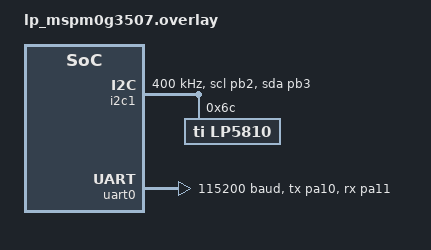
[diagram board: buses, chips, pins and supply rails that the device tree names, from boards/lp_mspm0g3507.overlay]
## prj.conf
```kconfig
CONFIG_I2C=y
CONFIG_I2C_SCL_LOW_TIMEOUT=10
CONFIG_MAIN_STACK_SIZE=2048
CONFIG_LED=y
```

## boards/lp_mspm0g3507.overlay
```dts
&i2c1_scl_pb2 {
	input-enable;
};

&i2c1_sda_pb3 {
	input-enable;
};

&i2c1 {
	pinctrl-0 = <&i2c1_scl_pb2 &i2c1_sda_pb3>;
	pinctrl-names = "default";
	merge-buf-size = <64>;
	status = "okay";
	clock-frequency = <I2C_BITRATE_FAST>;

	lp5810: lp5810@6c {
		compatible = "ti,lp5810";
		reg = <0x6c>;
	};
};

&uart0 {
	current-speed = <115200>;
	clocks = <&ckm MSPM0_CLOCK_ULPCLK>;
	pinctrl-0 = <&uart0_tx_pa10 &uart0_rx_pa11>;
    status = "okay";
};
```

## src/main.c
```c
/*
 * Copyright (c) 2025 Texas Instruments
 *
 * SPDX-License-Identifier: Apache-2.0
 */

#include <zephyr/kernel.h>
#include <zephyr/sys/printk.h>
#include <zephyr/drivers/i2c.h>
#include <zephyr/drivers/led.h>
#include <zephyr/drivers/led/lp5810_lp5811.h>

#define STACKSIZE 2048
#define PRIORITY 7
#define LP5810_LP5811_NUM_LEDS 4

const struct device *const dev = DEVICE_DT_GET_ANY(ti_lp5810);

void turn_on_all_leds() {
	for(uint8_t i = 0; i < LP5810_LP5811_NUM_LEDS; i++) {
		lp5810_lp5811_set_analog_dimming(dev, i, 0xFF);
		lp5810_lp5811_set_pwm_dimming(dev, i, 0xFF);
	}
}

void turn_off_all_leds() {
	for(uint8_t i = 0; i < LP5810_LP5811_NUM_LEDS; i++) {
		lp5810_lp5811_set_analog_dimming(dev, i, 0x00);
		lp5810_lp5811_set_pwm_dimming(dev, i, 0x00);
	}
}

void led_marquee() {
	int i;
	int loop_length = 256 + 128*3;
	
	for(uint8_t i = 0; i < LP5810_LP5811_NUM_LEDS; i++) {
		lp5810_lp5811_set_analog_dimming(dev, i, 0x10);
		lp5810_lp5811_set_pwm_dimming(dev, i, 0x00);
	}

	for(i = 0; i < loop_length; i++) {
		if(i < 128) {
			lp5810_lp5811_set_pwm_dimming(dev, 0, i);
			k_msleep(1);
		}
		else if(i < 256) {
			lp5810_lp5811_set_pwm_dimming(dev, 0, i);
			lp5810_lp5811_set_pwm_dimming(dev, 1, i - 256);
			k_msleep(1);
		}
		else if(i < 384) {
			lp5810_lp5811_set_pwm_dimming(dev, 0, 255);
			lp5810_lp5811_set_pwm_dimming(dev, 1, i - 128);
			lp5810_lp5811_set_pwm_dimming(dev, 1, i - 256);
			k_msleep(1);
		}
		else if(i < 512) {
			lp5810_lp5811_set_pwm_dimming(dev, 0, 255);
			lp5810_lp5811_set_pwm_dimming(dev, 1, 255);
			lp5810_lp5811_set_pwm_dimming(dev, 2, i - 256);
			lp5810_lp5811_set_pwm_dimming(dev, 3, i - 384);
			k_msleep(1);
		}
		else {
			lp5810_lp5811_set_pwm_dimming(dev, 0, 255);
			lp5810_lp5811_set_pwm_dimming(dev, 1, 255);
			lp5810_lp5811_set_pwm_dimming(dev, 2, 255);
			lp5810_lp5811_set_pwm_dimming(dev, 3, i - 384);
			k_msleep(1);
		}
	}
	k_msleep(250);

	for(i = 128; i >= 0; i--) {
		lp5810_lp5811_set_pwm_dimming(dev, 0, i*2);
		lp5810_lp5811_set_pwm_dimming(dev, 1, i*2);
		lp5810_lp5811_set_pwm_dimming(dev, 2, i*2);
		lp5810_lp5811_set_pwm_dimming(dev, 3, i*2);
		k_msleep(1);
	}

	k_msleep(250);
}


int main() {
	if (!dev) {
		return 0;
	} else if (!device_is_ready(dev)) {
		return 0;
	}

	turn_on_all_leds();

	while(1) {
		led_marquee();
	}

	return 0;
}
```
